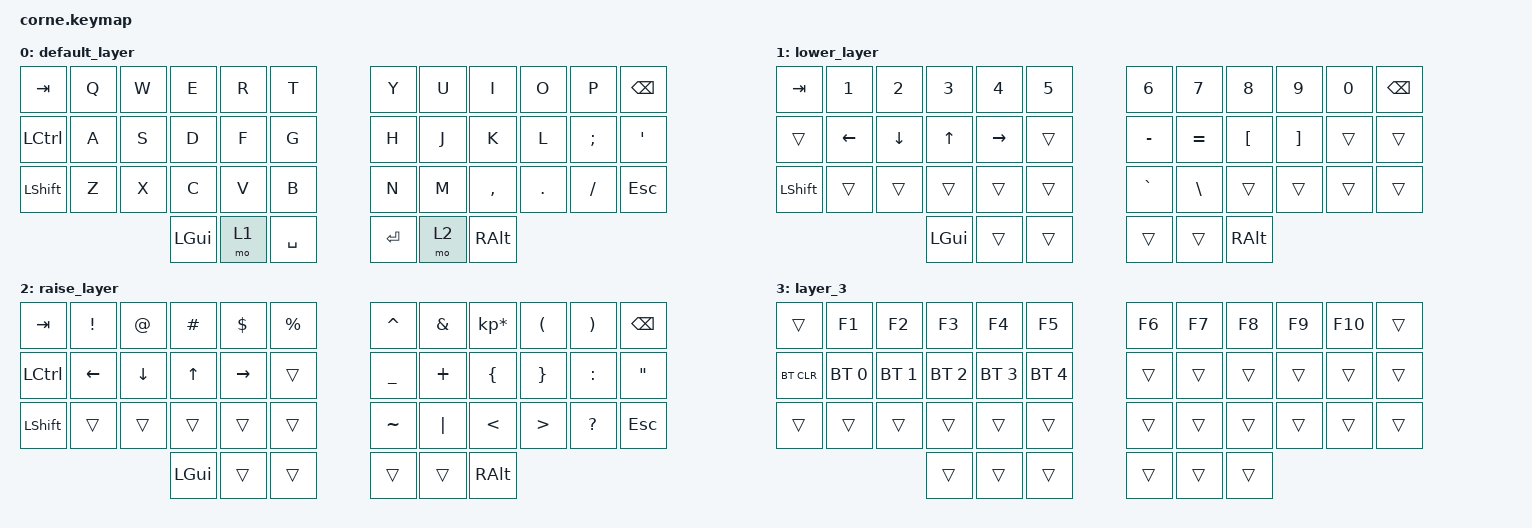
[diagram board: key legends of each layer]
/*
 * Copyright (c) 2020 The ZMK Contributors
 *
 * SPDX-License-Identifier: MIT
 */

#include <behaviors.dtsi>
#include <dt-bindings/zmk/bt.h>
#include <dt-bindings/zmk/keys.h>

/ {
    keymap {
        compatible = "zmk,keymap";

        default_layer {
            // -----------------------------------------------------------------------------------------
            // |  TAB |  Q  |  W  |  E  |  R  |  T  |   |  Y  |  U   |  I  |  O  |  P  | BKSP |
            // | CTRL |  A  |  S  |  D  |  F  |  G  |   |  H  |  J   |  K  |  L  |  ;  |  '   |
            // | SHFT |  Z  |  X  |  C  |  V  |  B  |   |  N  |  M   |  ,  |  .  |  /  | ESC  |
            //                    | GUI | LWR | SPC |   | ENT | RSE  | ALT |

            bindings = <
&kp TAB    &kp Q  &kp W  &kp E     &kp R  &kp T        &kp Y      &kp U  &kp I      &kp O    &kp P     &kp BSPC
&kp LCTRL  &kp A  &kp S  &kp D     &kp F  &kp G        &kp H      &kp J  &kp K      &kp L    &kp SEMI  &kp SQT
&kp LSHFT  &kp Z  &kp X  &kp C     &kp V  &kp B        &kp N      &kp M  &kp COMMA  &kp DOT  &kp FSLH  &kp ESC
                         &kp LGUI  &mo 1  &kp SPACE    &kp ENTER  &mo 2  &kp RALT
            >;
        };

        lower_layer {
            // -----------------------------------------------------------------------------------------
            // |  TAB |  1  |  2  |  3  |  4  |  5  |   |  6  |  7  |  8  |  9  |  0  | BKSP |
            // | BTCLR| BT1 | BT2 | BT3 | BT4 | BT5 |   | LFT | DWN |  UP | RGT |     |      |
            // | SHFT |     |     |     |     |     |   |     |     |     |     |     |      |
            //                    | GUI |     | SPC |   | ENT |     | ALT |

            bindings = <
&kp TAB    &kp N1          &kp N2          &kp N3        &kp N4           &kp N5    &kp N6     &kp N7         &kp N8            &kp N9             &kp N0  &kp BSPC
&trans     &kp LEFT_ARROW  &kp DOWN_ARROW  &kp UP_ARROW  &kp RIGHT_ARROW  &trans    &kp MINUS  &kp EQUAL      &kp LEFT_BRACKET  &kp RIGHT_BRACKET  &trans  &trans
&kp LSHFT  &trans          &trans          &trans        &trans           &trans    &kp GRAVE  &kp BACKSLASH  &trans            &trans             &trans  &trans
                                           &kp LGUI      &trans           &trans    &trans     &trans         &kp RALT
            >;
        };

        raise_layer {
            // -----------------------------------------------------------------------------------------
            // |  TAB |  !  |  @  |  #  |  $  |  %  |   |  ^  |  &  |  *  |  (  |  )  | BKSP |
            // | CTRL |     |     |     |     |     |   |  -  |  =  |  [  |  ]  |  \  |  `   |
            // | SHFT |     |     |     |     |     |   |  _  |  +  |  {  |  }  | "|" |  ~   |
            //                    | GUI |     | SPC |   | ENT |     | ALT |

            bindings = <
&kp TAB    &kp EXCL        &kp AT    &kp HASH  &kp DLLR   &kp PRCNT    &kp CARET       &kp AMPS  &kp KP_MULTIPLY  &kp LPAR          &kp RPAR      &kp BSPC
&kp LCTRL  &kp LEFT_ARROW  &kp DOWN  &kp UP    &kp RIGHT  &trans       &kp UNDERSCORE  &kp PLUS  &kp LEFT_BRACE   &kp RIGHT_BRACE   &kp COLON     &kp DOUBLE_QUOTES
&kp LSHFT  &trans          &trans    &trans    &trans     &trans       &kp TILDE       &kp PIPE  &kp LESS_THAN    &kp GREATER_THAN  &kp QUESTION  &kp ESC
                                     &kp LGUI  &trans     &trans       &trans          &trans    &kp RALT
            >;
        };

        layer_3 {
            bindings = <
&trans      &kp F1        &kp F2        &kp F3        &kp F4        &kp F5          &kp F6  &kp F7  &kp F8  &kp F9  &kp F10  &trans
&bt BT_CLR  &bt BT_SEL 0  &bt BT_SEL 1  &bt BT_SEL 2  &bt BT_SEL 3  &bt BT_SEL 4    &trans  &trans  &trans  &trans  &trans   &trans
&trans      &trans        &trans        &trans        &trans        &trans          &trans  &trans  &trans  &trans  &trans   &trans
                                        &trans        &trans        &trans          &trans  &trans  &trans
            >;
        };
    };

    conditional_layers {
        compatible = "zmk,conditional-layers";

        layer3 {
            if-layers = <1 2>;
            then-layer = <3>;
        };
    };
};
